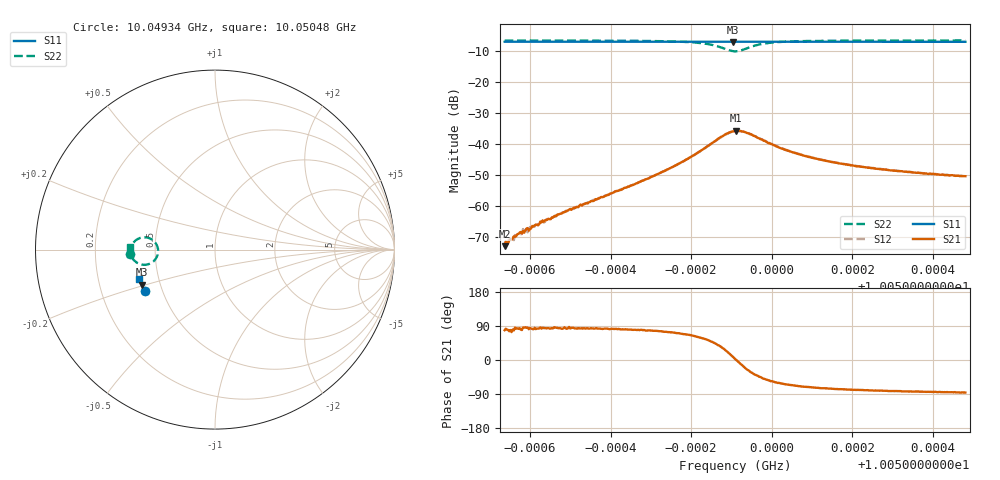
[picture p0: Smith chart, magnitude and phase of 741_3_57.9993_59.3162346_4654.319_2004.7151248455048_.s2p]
#  HZ  S  RI  R  50.00
! Rohde & Schwarz Vector Network Analyzer
! Rohde-Schwarz,ZNB20-2Port,1311601062101988,3.16
! Created: UTC 3/21/2024, 1:23:36 AM
! freq[Hz]  re:S11  im:S11  re:S21  im:S21  re:S12  im:S12  re:S22  im:S22
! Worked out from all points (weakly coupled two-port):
!   401 points, 10.04934 GHz to 10.05048 GHz, reference 50 ohm
!   highest |S21| = -35.69 dB at 10.04991 GHz (marker M1); lowest = -73.0 dB at 10.04934 GHz (marker M2)
!   lowest |S11| = -6.9 dB at 10.0499 GHz (marker M3), VSWR 2.64, Z = 19.7 - j9.69 ohm
!   |S11| at or under -10 dB: nowhere
!   |S22| runs from -10.0 to -6.5 dB; largest |S21 - S12| = 0.0015
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1.0049337e10  -0.3919 -0.2293  4.43e-05 0.000219  2.2e-05 0.000254  -0.4738 -0.0267
1.0049371e10  -0.3931 -0.2273  4.81e-05 0.000349  3.39e-05 0.000349  -0.4735 -0.0236
1.0049388e10  -0.3935 -0.2264  2.56e-05 0.000403  4.15e-05 0.000412  -0.4737 -0.0218
1.0049403e10  -0.394 -0.2254  5.17e-05 0.000429  2.53e-05 0.000432  -0.4736 -0.0204
1.0049431e10  -0.3949 -0.2237  4.86e-05 0.00058  2.94e-05 0.000579  -0.4733 -0.0177
1.0049446e10  -0.3954 -0.2229  6.38e-05 0.000618  7.51e-06 0.000637  -0.4733 -0.0161
1.0049529e10  -0.3979 -0.218  0.000108 0.00101  6.1e-05 0.00101  -0.4725 -0.0067
1.0049651e10  -0.4014 -0.2106  0.000366 0.00212  0.00023 0.00212  -0.4684 0.0115
1.004972e10  -0.4035 -0.2065  0.000798 0.00325  0.0006 0.00329  -0.4624 0.0262
1.0049777e10  -0.405 -0.2029  0.00186 0.0048  0.0015 0.0049  -0.4502 0.0434
1.0049832e10  -0.4062 -0.1993  0.00467 0.00702  0.00419 0.00726  -0.4197 0.0639
1.0049872e10  -0.4068 -0.1969  0.0103 0.00758  0.00965 0.00809  -0.3658 0.0634
1.0049903e10  -0.4068 -0.1954  0.0159 0.00245  0.0155 0.00359  -0.3192 0.0112
1.0049909e10  -0.407 -0.1952  0.0161 0.000809  0.016 0.00223  -0.3168 -0.004
1.0049912e10  -0.407 -0.1951  0.0164 7.35e-05  0.0163 0.00147  -0.3167 -0.0119
1.0049929e10  -0.4074 -0.1944  0.0153 -0.00442  0.0156 -0.00312  -0.3318 -0.054
1.004996e10  -0.4087 -0.1933  0.0102 -0.00838  0.0109 -0.00778  -0.3868 -0.0845
1.0050029e10  -0.4114 -0.1891  0.00376 -0.0074  0.0043 -0.00722  -0.4484 -0.0622
1.00501e10  -0.4132 -0.1847  0.0018 -0.00574  0.00222 -0.00566  -0.465 -0.0381
1.0050198e10  -0.4159 -0.1787  0.000906 -0.00444  0.00118 -0.00442  -0.4718 -0.018
1.0050292e10  -0.4181 -0.1728  0.000537 -0.00374  0.000775 -0.00374  -0.4738 -0.00429
1.0050481e10  -0.4224 -0.1613  0.00021 -0.00302  0.00038 -0.00301  -0.4747 0.0157
